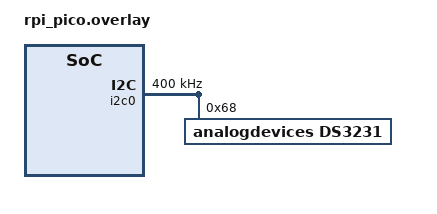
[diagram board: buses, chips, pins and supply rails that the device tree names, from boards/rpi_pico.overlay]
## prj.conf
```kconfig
CONFIG_I2C=y
CONFIG_RTC=y
CONFIG_RTC_DS3231=y
CONFIG_LOG=y
CONFIG_LOG_PRINTK=y
CONFIG_CONSOLE=y
CONFIG_UART_CONSOLE=y
# CONFIG_RTC_LOG_LEVEL_DBG=y
CONFIG_REBOOT=y
```

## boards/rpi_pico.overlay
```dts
&i2c0{
	clock-frequency = <I2C_BITRATE_FAST>;
	status = "okay";
	pinctrl-0 = <&i2c0_default>;
	pinctrl-names = "default";
 ds3231:ds3231@68{
		compatible = "analogdevices,ds3231";
		status = "okay";
		reg = <0x68>;
	};
 };
```

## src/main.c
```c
#include <zephyr/kernel.h>
#include <zephyr/drivers/rtc.h>
#include <zephyr/sys/printk.h>
#include <zephyr/logging/log.h>
#include <stdlib.h>
#include <zephyr/sys/timeutil.h>

LOG_MODULE_REGISTER(simple_app);
const struct device *dev;

static const struct device *get_ds3231_device(void)
{
	const struct device *const dev = DEVICE_DT_GET_ANY(adi_ds3231);

	if (dev == NULL) {
		/* No such node, or the node does not have status "okay". */
		printk("\nError: no device found.\n");
		return NULL;
	}

	if (!device_is_ready(dev)) {
		printk("\nError: Device \"%s\" is not ready; "
		       "check the driver initialization logs for errors.\n",
		       dev->name);
		return NULL;
	}

	printk("Found device \"%s\", getting time\n", dev->name);
	return dev;
}

int main(void)
{
	time_t timer_set = 1708955166;
	struct rtc_time set_t, get_t;
	int ret;
	
	LOG_INF("Running DS3231 simple  app on %s\n", CONFIG_BOARD);
	dev = get_ds3231_device();
	if (dev == NULL) {
		return 0;
	}

	gmtime_r(&timer_set, (struct tm *)(&set_t));
	LOG_INF("Setting date/time is %d-%d-%d %d  %d:%d:%d\n", set_t.tm_year + 1900,
		set_t.tm_mon + 1, set_t.tm_mday, set_t.tm_wday, set_t.tm_hour, set_t.tm_min,
		set_t.tm_sec);

        ret = rtc_set_time(dev, &set_t);
	if (ret != 0) {
		LOG_INF("Error setting time!!");
	}

	k_msleep(2000);

	ret = rtc_get_time(dev, &get_t);
	if (ret != 0) {
		LOG_INF("Error getting time!!");
	} else {
		LOG_INF("Date/time is %d-%d-%d   %d:%d:%d\n", get_t.tm_year + 1900,
			get_t.tm_mon + 1, get_t.tm_mday, get_t.tm_hour, get_t.tm_min, get_t.tm_sec);
	}
	return 0;
}
```
